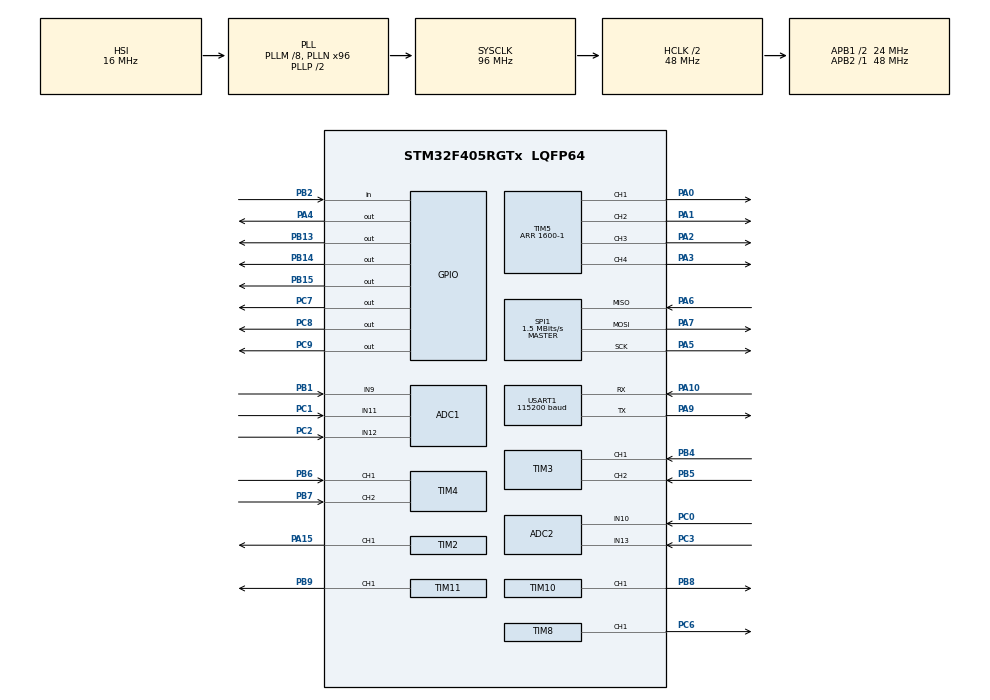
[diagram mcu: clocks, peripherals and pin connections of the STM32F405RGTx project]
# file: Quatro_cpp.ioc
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ADC1.Channel-0\#ChannelRegularConversion=ADC_CHANNEL_11
ADC1.Channel-1\#ChannelRegularConversion=ADC_CHANNEL_12
ADC1.Channel-2\#ChannelRegularConversion=ADC_CHANNEL_9
ADC1.DMAContinuousRequests=ENABLE
ADC1.NbrOfConversion=3
ADC1.NbrOfConversionFlag=1
ADC1.Rank-0\#ChannelRegularConversion=1
ADC1.Rank-1\#ChannelRegularConversion=2
ADC1.Rank-2\#ChannelRegularConversion=3
ADC1.SamplingTime-0\#ChannelRegularConversion=ADC_SAMPLETIME_56CYCLES
ADC1.SamplingTime-1\#ChannelRegularConversion=ADC_SAMPLETIME_56CYCLES
ADC1.SamplingTime-2\#ChannelRegularConversion=ADC_SAMPLETIME_56CYCLES
ADC1.master=1
ADC2.Channel-0\#ChannelRegularConversion=ADC_CHANNEL_10
ADC2.Channel-1\#ChannelRegularConversion=ADC_CHANNEL_13
ADC2.DMAContinuousRequests=ENABLE
ADC2.InjNumberOfConversion=0
ADC2.NbrOfConversion=2
ADC2.NbrOfConversionFlag=1
ADC2.Rank-0\#ChannelRegularConversion=1
ADC2.Rank-1\#ChannelRegularConversion=2
ADC2.SamplingTime-0\#ChannelRegularConversion=ADC_SAMPLETIME_56CYCLES
ADC2.SamplingTime-1\#ChannelRegularConversion=ADC_SAMPLETIME_56CYCLES
Dma.ADC1.1.Direction=DMA_PERIPH_TO_MEMORY
Dma.ADC1.1.FIFOMode=DMA_FIFOMODE_DISABLE
Dma.ADC1.1.Instance=DMA2_Stream0
Dma.ADC1.1.MemDataAlignment=DMA_MDATAALIGN_HALFWORD
Dma.ADC1.1.MemInc=DMA_MINC_ENABLE
Dma.ADC1.1.Mode=DMA_CIRCULAR
Dma.ADC1.1.PeriphDataAlignment=DMA_PDATAALIGN_HALFWORD
Dma.ADC1.1.PeriphInc=DMA_PINC_DISABLE
Dma.ADC1.1.Priority=DMA_PRIORITY_LOW
Dma.ADC2.0.Direction=DMA_PERIPH_TO_MEMORY
Dma.ADC2.0.FIFOMode=DMA_FIFOMODE_DISABLE
Dma.ADC2.0.Instance=DMA2_Stream2
Dma.ADC2.0.MemDataAlignment=DMA_MDATAALIGN_HALFWORD
Dma.ADC2.0.MemInc=DMA_MINC_ENABLE
Dma.ADC2.0.Mode=DMA_CIRCULAR
Dma.ADC2.0.PeriphDataAlignment=DMA_PDATAALIGN_HALFWORD
Dma.ADC2.0.PeriphInc=DMA_PINC_DISABLE
Dma.ADC2.0.Priority=DMA_PRIORITY_LOW
Dma.Request0=ADC2
Dma.Request1=ADC1
Mcu.Family=STM32F4
Mcu.Name=STM32F405RGTx
Mcu.Package=LQFP64
NVIC.DMA2_Stream0_IRQn=true\:0\:0\:false\:false\:true\:false\:true
NVIC.DMA2_Stream2_IRQn=true\:0\:0\:false\:false\:true\:false\:true
NVIC.PriorityGroup=NVIC_PRIORITYGROUP_4
NVIC.TIM1_TRG_COM_TIM11_IRQn=true\:0\:0\:false\:false\:true\:true\:true
NVIC.TIM1_UP_TIM10_IRQn=true\:0\:0\:false\:false\:true\:true\:true
PA0-WKUP.Signal=S_TIM5_CH1
PA1.Signal=S_TIM5_CH2
PA10.Mode=Asynchronous
PA10.Signal=USART1_RX
PA13.Mode=Serial_Wire
PA13.Signal=SYS_JTMS-SWDIO
PA14.Mode=Serial_Wire
PA14.Signal=SYS_JTCK-SWCLK
PA15.Signal=S_TIM2_CH1_ETR
PA2.Signal=S_TIM5_CH3
PA3.Signal=S_TIM5_CH4
PA4.Signal=GPIO_Output
PA5.Mode=Full_Duplex_Master
PA5.Signal=SPI1_SCK
PA6.Mode=Full_Duplex_Master
PA6.Signal=SPI1_MISO
PA7.Mode=Full_Duplex_Master
PA7.Signal=SPI1_MOSI
PA9.Mode=Asynchronous
PA9.Signal=USART1_TX
PB1.Signal=ADCx_IN9
PB13.Signal=GPIO_Output
PB14.Signal=GPIO_Output
PB15.Signal=GPIO_Output
PB2.Signal=GPIO_Input
PB4.Signal=S_TIM3_CH1
PB5.Signal=S_TIM3_CH2
PB6.Signal=S_TIM4_CH1
PB7.Signal=S_TIM4_CH2
PB8.Signal=S_TIM10_CH1
PB9.Signal=S_TIM11_CH1
PC0.Signal=ADCx_IN10
PC1.Signal=ADCx_IN11
PC2.Signal=ADCx_IN12
PC3.Signal=ADCx_IN13
PC6.Signal=S_TIM8_CH1
PC7.Signal=GPIO_Output
PC8.Signal=GPIO_Output
PC9.Signal=GPIO_Output
ProjectManager.HeapSize=0x200
ProjectManager.StackSize=0x400
ProjectManager.TargetToolchain=Makefile
RCC.48MHZClocksFreq_Value=48000000
RCC.AHBCLKDivider=RCC_SYSCLK_DIV2
RCC.AHBFreq_Value=48000000
RCC.APB1CLKDivider=RCC_HCLK_DIV2
RCC.APB1Freq_Value=24000000
RCC.APB1TimFreq_Value=48000000
RCC.APB2Freq_Value=48000000
RCC.APB2TimFreq_Value=48000000
RCC.CortexFreq_Value=48000000
RCC.HCLKFreq_Value=48000000
RCC.HSE_VALUE=25000000
RCC.HSI_VALUE=16000000
RCC.LSE_VALUE=32768
RCC.PLLM=8
RCC.PLLN=96
RCC.SYSCLKFreq_VALUE=96000000
RCC.SYSCLKSource=RCC_SYSCLKSOURCE_PLLCLK
RCC.VCOOutputFreq_Value=192000000
SH.ADCx_IN10.0=ADC2_IN10,IN10
SH.ADCx_IN11.0=ADC1_IN11,IN11
SH.ADCx_IN12.0=ADC1_IN12,IN12
SH.ADCx_IN13.0=ADC2_IN13,IN13
SH.ADCx_IN9.0=ADC1_IN9,IN9
SH.S_TIM10_CH1.0=TIM10_CH1,PWM Generation1 CH1
SH.S_TIM11_CH1.0=TIM11_CH1,PWM Generation1 CH1
SH.S_TIM2_CH1_ETR.0=TIM2_CH1,PWM Generation1 CH1
SH.S_TIM3_CH1.0=TIM3_CH1,Encoder_Interface
SH.S_TIM3_CH2.0=TIM3_CH2,Encoder_Interface
SH.S_TIM4_CH1.0=TIM4_CH1,Encoder_Interface
SH.S_TIM4_CH2.0=TIM4_CH2,Encoder_Interface
SH.S_TIM5_CH1.0=TIM5_CH1,PWM Generation1 CH1
SH.S_TIM5_CH2.0=TIM5_CH2,PWM Generation2 CH2
SH.S_TIM5_CH3.0=TIM5_CH3,PWM Generation3 CH3
SH.S_TIM5_CH4.0=TIM5_CH4,PWM Generation4 CH4
SH.S_TIM8_CH1.0=TIM8_CH1,PWM Generation1 CH1
SPI1.BaudRatePrescaler=SPI_BAUDRATEPRESCALER_32
SPI1.CLKPhase=SPI_PHASE_2EDGE
SPI1.CLKPolarity=SPI_POLARITY_HIGH
SPI1.CalculateBaudRate=1.5 MBits/s
SPI1.Direction=SPI_DIRECTION_2LINES
SPI1.Mode=SPI_MODE_MASTER
SPI1.VirtualType=VM_MASTER
TIM1.Period=100-1
TIM1.Prescaler=30-1
TIM10.Channel=TIM_CHANNEL_1
TIM10.Period=1000-1
TIM10.Prescaler=48
TIM11.Channel=TIM_CHANNEL_1
TIM11.Period=1000-1
TIM11.Prescaler=48
TIM2.Channel-PWM\ Generation1\ CH1=TIM_CHANNEL_1
TIM2.Period=1000-1
TIM2.Prescaler=48
TIM3.EncoderMode=TIM_ENCODERMODE_TI12
TIM4.EncoderMode=TIM_ENCODERMODE_TI12
TIM5.Channel-PWM\ Generation1\ CH1=TIM_CHANNEL_1
TIM5.Channel-PWM\ Generation2\ CH2=TIM_CHANNEL_2
TIM5.Channel-PWM\ Generation3\ CH3=TIM_CHANNEL_3
TIM5.Channel-PWM\ Generation4\ CH4=TIM_CHANNEL_4
TIM5.Period=1600-1
TIM8.Channel-PWM\ Generation1\ CH1=TIM_CHANNEL_1
TIM8.Period=1000-1
USART1.BaudRate=115200
USART1.VirtualMode=VM_ASYNC
VP_TIM10_VS_ClockSourceINT.Mode=Enable_Timer
VP_TIM11_VS_ClockSourceINT.Mode=Enable_Timer
VP_TIM12_VS_ClockSourceINT.Mode=Internal
VP_TIM12_VS_OPM.Mode=OPM_bit
VP_TIM1_VS_ClockSourceINT.Mode=Internal
VP_TIM2_VS_ClockSourceINT.Mode=Internal
board=custom

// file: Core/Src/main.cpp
/* USER CODE BEGIN Header */
/**
 ******************************************************************************
 * @file           : main.c
 * @brief          : Main program body
 ******************************************************************************
 * @attention
 *
 * <h2><center>&copy; Copyright (c) 2021 STMicroelectronics.
 * All rights reserved.</center></h2>
 *
 * This software component is licensed by ST under BSD 3-Clause license,
 * the "License"; You may not use this file except in compliance with the
 * License. You may obtain a copy of the License at:
 *                        opensource.org/licenses/BSD-3-Clause
 *
 ******************************************************************************
 */
/* USER CODE END Header */
#include "main.h"
#include "adc.h"
#include "dma.h"
#include "spi.h"
#include "tim.h"
#include "usart.h"
#include "gpio.h"

/* USER CODE BEGIN Includes */
#include <vector>
#include <cmath>
#include "my_header.h"
/* USER CODE END Includes */

/* USER CODE BEGIN PTD */
hardware::LED led;
hardware::IRsensor irsensors(2300);
hardware::Speaker speaker;
undercarriage::Odometory odom(0.001);
undercarriage::Controller controller(0.001);
undercarriage::Step_Identification step_identification;
/* USER CODE END PTD */

void SystemClock_Config(void);

/* USER CODE BEGIN 0 */
char mode = 'i';

char initialization = 'i';
char slalom = 's';
char translation = 't';
char pivot_turn = 'p';
char stop_movement = 'x';
char control = 'c';
char output = 'o';
char wait = 'w';
char identification = 'm';

int cnt16kHz = 0;
int cnt1kHz = 0;
int cnt_pivot = 0;

float bat_vol;
bool flag_interruption = false;
bool flag_odometory = true;

std::vector<float> cur_pos{0, 0, 0};
std::vector<float> cur_vel{0, 0};
std::vector<uint32_t> ir_data{0, 0, 0, 0};

void HAL_TIM_PeriodElapsedCallback(TIM_HandleTypeDef *htim)
{
  if (flag_interruption)
  {
    if (htim == &htim1) // interruption 16kHz
    {
      irsensors.UpdateSideValue();
      irsensors.UpdateFrontValue();

      cnt16kHz = (cnt16kHz + 1) % 16;

      if (cnt16kHz == 0) // interruption 1kHz
      {
        cnt1kHz = (cnt1kHz + 1) % 1000;
        bat_vol = irsensors.GetBatteryVoltage();
        // controller.UpdateBatteryVoltage(bat_vol);
        step_identification.UpdateBatteryVoltage(bat_vol);
        irsensors.Update();
        ir_data = irsensors.GetIRSensorData();
        odom.Update();
        cur_pos = odom.GetPosition();
        cur_vel = odom.GetVelocity();

        if (mode == translation)
        {
          controller.GoStraight(cur_pos, cur_vel, ir_data);
          if (irsensors.GetFrontWallFlag())
          {
            mode = slalom;
          }
        }

        else if (mode == slalom)
        {
          if (flag_odometory)
          {
            odom.Reset();
            cur_pos = odom.GetPosition();
            cur_vel = odom.GetVelocity();
            flag_odometory = false;
          }

          if (controller.GetFlag())
          {
            controller.KanayamaTurnLeft90(cur_pos, cur_vel);
          }
          else
          {
            flag_interruption = false;
            mode = output;
          }
        }

        else if (mode == pivot_turn)
        {
          // if (controller.GetFlag() && cnt_pivot < 10)
          if (controller.GetFlag())
          {
            controller.PivotTurn180(cur_pos, cur_vel);
          }
          else
          {
            flag_interruption = false;
            controller.ResetFlag();
            // mode = wait;
            // cnt_pivot++;

            mode = output;
          }
        }

        else if (identification)
        {
          if (step_identification.GetFlag())
          {
            step_identification.IdenTrans(cur_vel);
          }
          else
          {
            flag_interruption = false;
            mode = output;
          }
        }

        if (cnt1kHz == 0)
        {
          led.on_back_right();
        }
        else
          led.off_back_right();

        if (cnt1kHz % 200 == 0)
        {
          // printf("%f, %f\n", cur_pos[0], cur_pos[1]);
          // printf("%f, %f\n", cur_pos[2], cur_vel[1]);
          // printf("%f, %f\n", cur_vel[0], cur_vel[1]);
          // printf("%f\n", bat_vol);
          // printf("%lu, %lu,%lu, %lu\n", ir_data[0], ir_data[1],ir_data[2], ir_data[3]);
        }
      }
    }
  }
}
/* USER CODE END 0 */

int main(void)
{

  /* MCU Configuration--------------------------------------------------------*/

  /* Reset of all peripherals, Initializes the Flash interface and the Systick. */
  HAL_Init();

  /* Configure the system clock */
  SystemClock_Config();

  /* Initialize all configured peripherals */
  MX_GPIO_Init();
  MX_DMA_Init();
  MX_SPI1_Init();
  MX_TIM2_Init();
  MX_TIM3_Init();
  MX_TIM4_Init();
  MX_TIM10_Init();
  MX_TIM11_Init();
  MX_TIM12_Init();
  MX_ADC1_Init();
  MX_TIM5_Init();
  MX_TIM8_Init();
  MX_USART1_UART_Init();
  MX_ADC2_Init();
  MX_TIM1_Init();
  /* USER CODE BEGIN 2 */
  HAL_TIM_Base_Start_IT(&htim1);
  HAL_TIM_PWM_Start(&htim2, TIM_CHANNEL_1);
  HAL_TIM_Encoder_Start(&htim3, TIM_CHANNEL_ALL);
  HAL_TIM_Encoder_Start(&htim4, TIM_CHANNEL_ALL);
  HAL_TIM_PWM_Start(&htim5, TIM_CHANNEL_1);
  HAL_TIM_PWM_Start(&htim5, TIM_CHANNEL_2);
  HAL_TIM_PWM_Start(&htim5, TIM_CHANNEL_3);
  HAL_TIM_PWM_Start(&htim5, TIM_CHANNEL_4);
  HAL_TIM_PWM_Start(&htim8, TIM_CHANNEL_1);
  HAL_TIM_PWM_Start(&htim10, TIM_CHANNEL_1);
  HAL_TIM_PWM_Start(&htim11, TIM_CHANNEL_1);

  setbuf(stdout, NULL);
  speaker.Beep();
  irsensors.BatteryCheck();
  irsensors.on_all_led();
  HAL_Delay(1000);
  /* USER CODE END 2 */

  /* Infinite loop */
  while (1)
  {

    /* USER CODE BEGIN 3 */
    if (mode == initialization)
    {
      irsensors.UpdateFrontValue();
      if (!irsensors.StartInitialize())
      {
        speaker.Beep();
        odom.Initialize();
        speaker.Beep();
        flag_interruption = true;
        mode = identification;
      }
    }

    else
    {
      odom.IMU_Update();
      if (mode == output)
      {
        if (HAL_GPIO_ReadPin(GPIOB, GPIO_PIN_2) == 0)
        {
          // controller.OutputLog();
          step_identification.OutputLog();
        }
      }
      else if (mode == wait)
      {
        HAL_Delay(500);
        mode = pivot_turn;
        flag_interruption = true;
      }
    }
  }
  /* USER CODE END 3 */
}

void SystemClock_Config(void)
{
  RCC_OscInitTypeDef RCC_OscInitStruct = {0};
  RCC_ClkInitTypeDef RCC_ClkInitStruct = {0};

  /** Configure the main internal regulator output voltage
   */
  __HAL_RCC_PWR_CLK_ENABLE();
  __HAL_PWR_VOLTAGESCALING_CONFIG(PWR_REGULATOR_VOLTAGE_SCALE1);
  /** Initializes the RCC Oscillators according to the specified parameters
   * in the RCC_OscInitTypeDef structure.
   */
  RCC_OscInitStruct.OscillatorType = RCC_OSCILLATORTYPE_HSI;
  RCC_OscInitStruct.HSIState = RCC_HSI_ON;
  RCC_OscInitStruct.HSICalibrationValue = RCC_HSICALIBRATION_DEFAULT;
  RCC_OscInitStruct.PLL.PLLState = RCC_PLL_ON;
  RCC_OscInitStruct.PLL.PLLSource = RCC_PLLSOURCE_HSI;
  RCC_OscInitStruct.PLL.PLLM = 8;
  RCC_OscInitStruct.PLL.PLLN = 96;
  RCC_OscInitStruct.PLL.PLLP = RCC_PLLP_DIV2;
  RCC_OscInitStruct.PLL.PLLQ = 4;
  if (HAL_RCC_OscConfig(&RCC_OscInitStruct) != HAL_OK)
  {
    Error_Handler();
  }
  /** Initializes the CPU, AHB and APB buses clocks
   */
  RCC_ClkInitStruct.ClockType = RCC_CLOCKTYPE_HCLK | RCC_CLOCKTYPE_SYSCLK | RCC_CLOCKTYPE_PCLK1 | RCC_CLOCKTYPE_PCLK2;
  RCC_ClkInitStruct.SYSCLKSource = RCC_SYSCLKSOURCE_PLLCLK;
  RCC_ClkInitStruct.AHBCLKDivider = RCC_SYSCLK_DIV2;
  RCC_ClkInitStruct.APB1CLKDivider = RCC_HCLK_DIV2;
  RCC_ClkInitStruct.APB2CLKDivider = RCC_HCLK_DIV1;

  if (HAL_RCC_ClockConfig(&RCC_ClkInitStruct, FLASH_LATENCY_1) != HAL_OK)
  {
    Error_Handler();
  }
}

void Error_Handler(void)
{
  __disable_irq();
  while (1)
  {
  }
}

/************************ (C) COPYRIGHT STMicroelectronics *****END OF FILE****/
